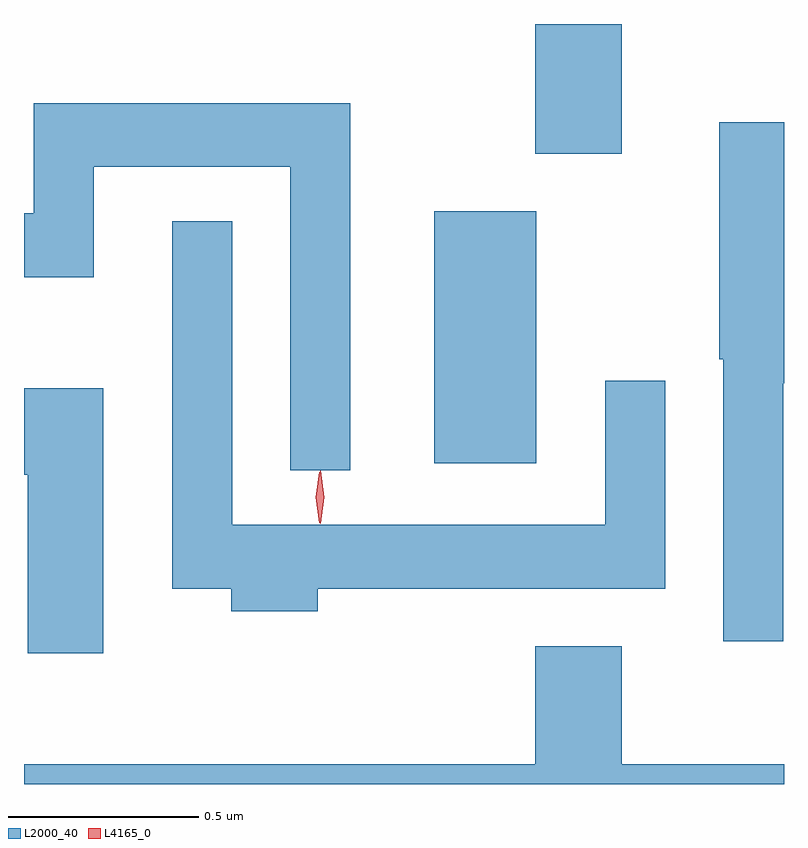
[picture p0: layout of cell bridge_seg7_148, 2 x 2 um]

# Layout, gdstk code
import gdstk
lib = gdstk.Library(unit=1e-6, precision=1e-09)
def R(c, l, rs):  # rectangles x0, y0, x1, y1
    for r in rs: c.add(gdstk.rectangle(r[:2], r[2:], *l))
def P(c, l, *ps):  # polygons
    for p in ps: c.add(gdstk.Polygon(p, *l))
L2000_40 = (2000, 40)
L4165_0 = (4165, 0)

bridge_seg7_148 = lib.new_cell('bridge_seg7_148')
R(bridge_seg7_148, L2000_40, [(1479.176,1708.716,1479.444,1709.379), (1479.441,1709.531,1479.669,1709.872)])
P(bridge_seg7_148, L2000_40, [(1478.954,1709.664),(1478.121,1709.664),(1478.121,1709.374),(1478.096,1709.374),(1478.096,1709.206),(1478.279,1709.206),(1478.279,1709.496),(1478.796,1709.496),(1478.796,1708.698),(1478.954,1708.698)],
  [(1480.094,1708.926),(1480.096,1708.926),(1480.096,1709.614),(1479.926,1709.614),(1479.926,1708.99),(1479.936,1708.99),(1479.936,1708.248),(1480.094,1708.248)],
  [(1478.869,1708.386),(1479.784,1708.386),(1479.784,1708.933),(1479.626,1708.933),(1479.626,1708.554),(1478.644,1708.554),(1478.644,1709.353),(1478.486,1709.353),(1478.486,1708.386),(1478.641,1708.386),(1478.641,1708.326),(1478.869,1708.326)],
  [(1478.304,1708.914),(1478.096,1708.914),(1478.096,1708.686),(1478.106,1708.686),(1478.106,1708.216),(1478.304,1708.216)],
  [(1480.096,1707.924),(1479.669,1707.924),(1479.669,1708.234),(1479.441,1708.234),(1479.441,1707.924),(1478.096,1707.924),(1478.096,1707.872),(1480.096,1707.872)])
P(bridge_seg7_148, L4165_0, [(1478.876,1708.557),(1478.876,1708.558),(1478.866,1708.627),(1478.876,1708.696),(1478.876,1708.696),(1478.877,1708.696),(1478.886,1708.627),(1478.877,1708.558)],
  [(1478.874,1708.559),(1478.873,1708.56),(1478.864,1708.626),(1478.873,1708.692),(1478.874,1708.693),(1478.874,1708.692),(1478.884,1708.626),(1478.874,1708.56)])

lib.write_gds('bridge_seg7_148.gds')
